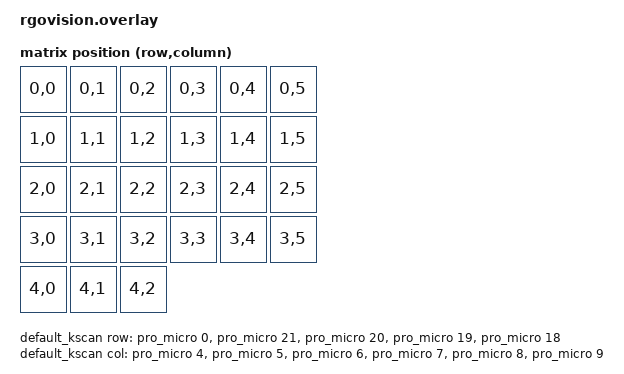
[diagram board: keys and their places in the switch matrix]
#include <dt-bindings/zmk/matrix_transform.h>

/ {
    chosen {
        zmk,kscan = &default_kscan;
        zmk,matrix_transform = &default_transform;
    };

    default_kscan: kscan {
        compatible = "zmk,kscan-gpio-matrix";
        label = "default_kscan";
        diode-direction = "col2row";

        row-gpios = <
            &pro_micro 0 (GPIO_ACTIVE_HIGH | GPIO_PULL_DOWN)
            &pro_micro 21 (GPIO_ACTIVE_HIGH | GPIO_PULL_DOWN)
            &pro_micro 20 (GPIO_ACTIVE_HIGH | GPIO_PULL_DOWN)
            &pro_micro 19 (GPIO_ACTIVE_HIGH | GPIO_PULL_DOWN)
            &pro_micro 18 (GPIO_ACTIVE_HIGH | GPIO_PULL_DOWN)
        >;

        col-gpios = <
            &pro_micro 4 (GPIO_ACTIVE_HIGH | GPIO_PULL_DOWN)
            &pro_micro 5 (GPIO_ACTIVE_HIGH | GPIO_PULL_DOWN)
            &pro_micro 6 (GPIO_ACTIVE_HIGH | GPIO_PULL_DOWN)
            &pro_micro 7 (GPIO_ACTIVE_HIGH | GPIO_PULL_DOWN)
            &pro_micro 8 (GPIO_ACTIVE_HIGH | GPIO_PULL_DOWN)
            &pro_micro 9 (GPIO_ACTIVE_HIGH | GPIO_PULL_DOWN)
        >;
    };

    default_transform: matrix_transform {
        compatible = "zmk,matrix-transform";
        columns = <6>;
        rows = <5>;

        map = <
            RC(0,0) RC(0,1) RC(0,2) RC(0,3) RC(0,4) RC(0,5)
            RC(1,0) RC(1,1) RC(1,2) RC(1,3) RC(1,4) RC(1,5)
            RC(2,0) RC(2,1) RC(2,2) RC(2,3) RC(2,4) RC(2,5)
            RC(3,0) RC(3,1) RC(3,2) RC(3,3) RC(3,4) RC(3,5)
            RC(4,0) RC(4,1) RC(4,2)
        >;
    };

    &i2c0 {
    status = "okay";
    glidepoint0: glidepoint@2a {
        status = "okay";
    };
};

&i2c0_default {
    group1 {
      bias-pull-up;
    };
};

/ {
    /* THIS only makes keymap binding happy, nothing happens on peripheral side */
	glidepoint1: virtual_input {
		compatible = "zmk,virtual-input";
	};

    input_relay_config_102 {
        compatible = "zmk,split-peripheral-input-relay";

        /* peripheral side input device, used to... */
		/*  - be intecepted on peripheral; */
		/*  - and then, be resurrected as `zmk,virtual-device` on central; */
        device = <&glidepoint0>;

        /* channel id, used to be be transfered along with all input events. */
		/* NOTE 1: pick any 8bit integer. (1 - 255) */
		/* NOTE 2: should matching relay-channel on central overlay */
		relay-channel = <102>;
    };
};&i2c0 {
        status = "disabled";  // Disable I2C by default

        glidepoint0: glidepoint@2a {
            compatible = "cirque,pinnacle";
            reg = <0x2a>;
            status = "disabled";  // Disable Glidepoint by default
            dr-gpios = <&pro_micro 1 (GPIO_ACTIVE_HIGH)>;

            sensitivity = "2x";
            sleep;
            //no-taps;
        };
    };

    /* Assign `input-listener` to all pointing devices */
    /* &glidepoint0 on central, &glidepoint1 on peripheral */
    tpad_central_listener {
        compatible = "zmk,input-listener";
        device = <&glidepoint0>;
        //xy-swap;
        y-invert;
        //x-invert;
        scale-multiplier = <2>;
    };

    tpad_peripheral_listener {
        compatible = "zmk,input-listener";
        device = <&glidepoint1>;
        //xy-swap;
        y-invert;
        //x-invert;
        scale-multiplier = <2>;
    };
};
